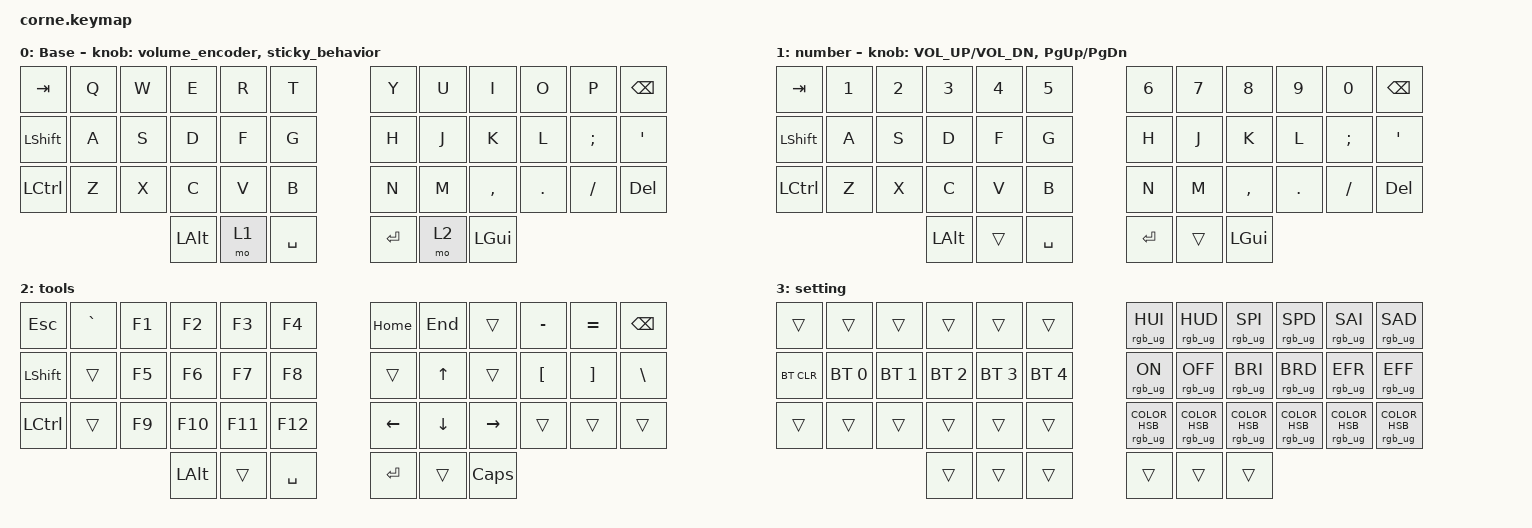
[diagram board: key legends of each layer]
#include <behaviors.dtsi>
#include <dt-bindings/zmk/bt.h>
#include <dt-bindings/zmk/keys.h>
#include <dt-bindings/zmk/pointing.h>
#include <dt-bindings/zmk/rgb.h>

/ {
    behaviors {
        sticky_behavior: sticky_behavior {
            compatible = "zmk,behavior-sticky-key";
            label = "STICKY_BEHAVIOR";
            bindings = <&mmv>;
            #binding-cells = <1>;
            release-after-ms = <0>;
        };

        volume_encoder: volume_encoder {
            compatible = "zmk,behavior-sensor-rotate";
            label = "VOLUME_ENCODER";
            #sensor-binding-cells = <0>;
            bindings = <&kp C_VOLUME_UP>, <&kp C_VOLUME_DOWN>;
        };
    };

    keymap {
        compatible = "zmk,keymap";

        default_layer {
            label = "Base";

            /*
             * 42 ปุ่ม:
             * 3 แถว × 6 ปุ่มต่อฝั่ง
             * + 3 ปุ่มนิ้วโป้งต่อฝั่ง
             */

            bindings = <
&kp TAB    &kp Q  &kp W  &kp E     &kp R  &kp T        &kp Y      &kp U  &kp I      &kp O    &kp P     &kp BSPC
&kp LSHFT  &kp A  &kp S  &kp D     &kp F  &kp G        &kp H      &kp J  &kp K      &kp L    &kp SEMI  &kp SQT
&kp LCTRL  &kp Z  &kp X  &kp C     &kp V  &kp B        &kp N      &kp M  &kp COMMA  &kp DOT  &kp FSLH  &kp DELETE
                         &kp LALT  &mo 1  &kp SPACE    &kp ENTER  &mo 2  &kp LGUI
            >;

            /*
             * Sensor ตัวที่ 1 = knob ซ้าย
             * หมุนตามเข็มเพิ่มเสียง / ทวนเข็มลดเสียง
             *
             * Sensor ตัวที่ 2 = encoder หรือ slider ทางขวา
             * ตอนนี้ตั้งเป็นเลื่อนหน้าขึ้น/ลงก่อน
             */

            sensor-bindings = <
                &volume_encoder
                &sticky_behavior
            >;
        };

        number_layer {
            label = "number";
            bindings = <
&kp TAB    &kp N1  &kp N2  &kp N3    &kp N4  &kp N5       &kp N6     &kp N7  &kp N8     &kp N9   &kp N0    &kp BSPC
&kp LSHFT  &kp A   &kp S   &kp D     &kp F   &kp G        &kp H      &kp J   &kp K      &kp L    &kp SEMI  &kp SQT
&kp LCTRL  &kp Z   &kp X   &kp C     &kp V   &kp B        &kp N      &kp M   &kp COMMA  &kp DOT  &kp FSLH  &kp DELETE
                           &kp LALT  &trans  &kp SPACE    &kp ENTER  &trans  &kp LGUI
            >;

            sensor-bindings =
                <&inc_dec_kp C_VOL_UP C_VOL_DN>,
                <&inc_dec_kp PG_UP PG_DN>;
        };

        tools_layer {
            bindings = <
&kp ESC    &kp GRAVE  &kp F1  &kp F2    &kp F3   &kp F4       &kp HOME   &kp END         &trans     &kp MINUS  &kp EQUAL  &kp BSPC
&kp LSHFT  &trans     &kp F5  &kp F6    &kp F7   &kp F8       &trans     &kp UP_ARROW    &trans     &kp LBKT   &kp RBKT   &kp BSLH
&kp LCTRL  &trans     &kp F9  &kp F10   &kp F11  &kp F12      &kp LEFT   &kp DOWN_ARROW  &kp RIGHT  &trans     &trans     &trans
                              &kp LALT  &trans   &kp SPACE    &kp ENTER  &trans          &kp CAPS
            >;

            label = "tools";
        };

        setting_layer {
            bindings = <
&trans      &trans        &trans        &trans        &trans        &trans          &rgb_ug RGB_HUI                  &rgb_ug RGB_HUD                   &rgb_ug RGB_SPI                    &rgb_ug RGB_SPD                    &rgb_ug RGB_SAI                    &rgb_ug RGB_SAD
&bt BT_CLR  &bt BT_SEL 0  &bt BT_SEL 1  &bt BT_SEL 2  &bt BT_SEL 3  &bt BT_SEL 4    &rgb_ug RGB_ON                   &rgb_ug RGB_OFF                   &rgb_ug RGB_BRI                    &rgb_ug RGB_BRD                    &rgb_ug RGB_EFR                    &rgb_ug RGB_EFF
&trans      &trans        &trans        &trans        &trans        &trans          &rgb_ug RGB_COLOR_HSB(0,100,50)  &rgb_ug RGB_COLOR_HSB(99,100,50)  &rgb_ug RGB_COLOR_HSB(209,100,50)  &rgb_ug RGB_COLOR_HSB(267,100,50)  &rgb_ug RGB_COLOR_HSB(305,100,49)  &rgb_ug RGB_COLOR_HSB(24,100,48)
                                        &trans        &trans        &trans          &trans                           &trans                            &trans
            >;

            label = "setting";
        };
    };

    conditional_layers {
        compatible = "zmk,conditional-layers";

        to_setiings {
            if-layers = <1 2>;
            then-layer = <3>;
        };
    };
};
